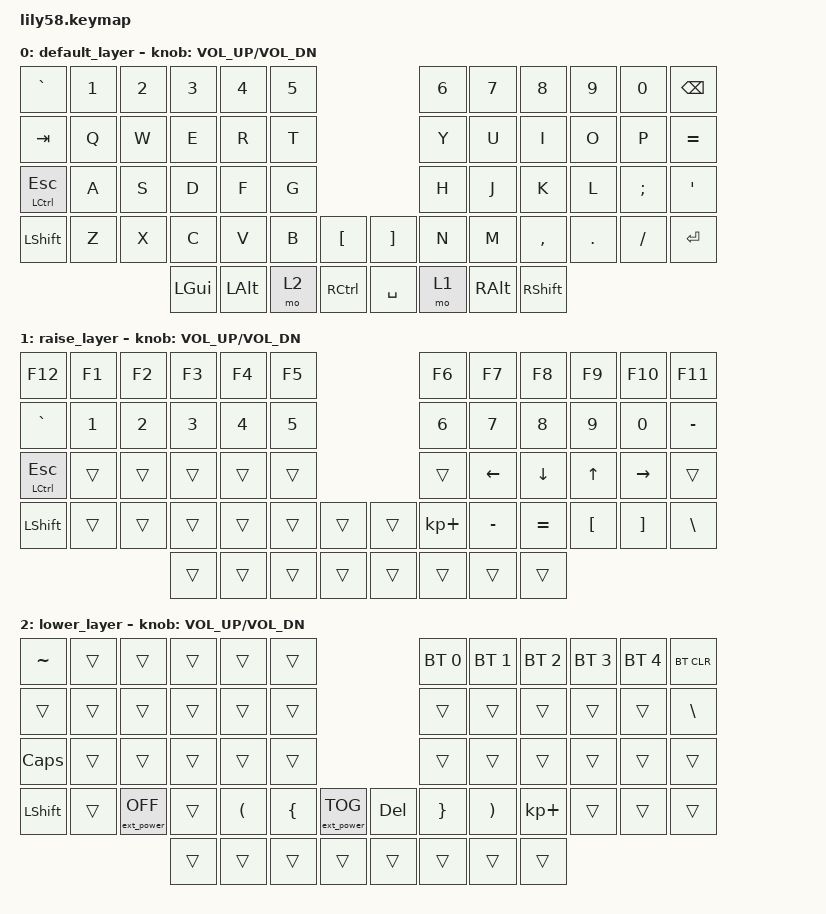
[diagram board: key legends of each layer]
/*
 * Copyright (c) 2020 The ZMK Contributors
 *
 * SPDX-License-Identifier: MIT
 */

#include <behaviors.dtsi>
#include <dt-bindings/zmk/keys.h>
#include <dt-bindings/zmk/bt.h>
#include <dt-bindings/zmk/ext_power.h>

/ {
	keymap {
		compatible = "zmk,keymap";

		default_layer {
// ------------------------------------------------------------------------------------------------------------
// |   `      |  1  |  2  |  3   |  4   |  5   |                   |  6   |  7    |  8    |  9   |   0   |   -   |
// |  TAB     |  Q  |  W  |  E   |  R   |  T   |                   |  Y   |  U    |  I    |  O   |   P   |   =   |
// |hCTRL tESC|  A  |  S  |  D   |  F   |  G   |                   |  H   |  J    |  K    |  L   |   ;   |   '   |
// | SHIFT    |  Z  |  X  |  C   |  V   |  B   |   "["  |  |  "]"  |  N   |  M    |  ,    |  .   |   /   | SHIFT |
//                        | GUI  | ALT  | LOWER|  LCTRL |  | SPACE | RAISE| RALT | RSHIFT |
			bindings = <
&kp GRAVE     &kp N1 &kp N2 &kp N3    &kp N4    &kp N5                      &kp N6  &kp N7   &kp N8    &kp N9  &kp N0   &kp BSPC
&kp TAB       &kp Q  &kp W  &kp E     &kp R     &kp T                       &kp Y   &kp U    &kp I     &kp O   &kp P    &kp EQUAL
&mt LCTRL ESC &kp A  &kp S  &kp D     &kp F     &kp G                       &kp H   &kp J    &kp K     &kp L   &kp SEMI &kp SQT
&kp LSHFT     &kp Z  &kp X  &kp C     &kp V     &kp B  &kp LBKT   &kp RBKT  &kp N   &kp M    &kp COMMA &kp DOT &kp FSLH &kp RET
                            &kp LGUI  &kp LALT  &mo 2  &kp RCTRL  &kp SPACE &mo 1   &kp RALT &kp RSHFT
			>;

			sensor-bindings = <&inc_dec_kp C_VOL_UP C_VOL_DN>;
		};

		raise_layer{
// ------------------------------------------------------------------------------------------------------------
// |    F12  	|  F1 |  F2 |  F3  |  F4  |  F5  |                   |  F6  |   F7  |   F8  |  F9  |  F10  |  F11  |
// |   `   	|  1  |  2  |  3   |  4   |  5   |                   |  6   |   7   |   8   |  9   |   0   |   -   |
// |hCTRL tESC	|     |     |      |      |      |                   |      |  <-   |   ^   |  v   |  ->   |       |   
// | SHIFT    	|     |     |      |      |      |        |  |       |  +   |   -   |   =   |  [   |   ]   |   \   |
//                          |      |      |      |        |  |       |      |       |       |
			bindings = <
&kp F12   	&kp F1 &kp F2 &kp F3  &kp F4  &kp F5                       &kp F6      &kp F7    &kp F8    &kp F9    &kp F10   &kp F11
&kp GRAVE 	&kp N1 &kp N2 &kp N3  &kp N4  &kp N5                       &kp N6      &kp N7    &kp N8    &kp N9    &kp N0    &kp MINUS
&mt LCTRL ESC	&trans &trans &trans  &trans  &trans                       &trans      &kp LEFT  &kp DOWN  &kp UP    &kp RIGHT    &trans
&kp LSHIFT 	&trans &trans &trans  &trans  &trans    &trans   &trans    &kp KP_PLUS &kp MINUS &kp EQUAL &kp LBKT  &kp RBKT  &kp BSLH
                              &trans  &trans  &trans    &trans   &trans    &trans      &trans    &trans
			>;

			sensor-bindings = <&inc_dec_kp C_VOL_UP C_VOL_DN>;
		};

		lower_layer {
// ------------------------------------------------------------------------------------------------------------
// | BTCLR |  	         |  	      |   	   |   	     |      	|                            | BT1  |  BT2  |  BT3  | BT4  |  BT5  | BT CLR  |
// |       |    	 |    	      |     	   |         |          |                            |      |       |       |      |       |    \    |
// |   ~   |  !  	 |  @  	      |  #   	   |  $      |  %       |                            |  ^   |  &    |  *    |  (   |   )   |    _    |
// | SHIFT |  EP_ON	 | EP_OFF     |      	   |  (      |  {       | extpwr TOG    |  |   DEL   |  }   |  )    |  +    |  {   |   }   |         |
//                     	              |      	   |         |          |               |  |         |      |       |       |
			bindings = <
&kp TILDE  &trans     &trans            &trans       &trans       &trans	                   	  &bt BT_SEL 0     &bt BT_SEL 1      &bt BT_SEL 2      &bt BT_SEL 3 &bt BT_SEL 4    &bt BT_CLR 
&trans     &trans     &trans            &trans       &trans       &trans                       		  &trans    &trans    &trans         &trans    &trans    &kp BSLH
&kp CAPS   &trans     &trans            &trans       &trans       &trans                    		  &trans    &trans    &trans         &trans    &trans    &trans
&kp LSHIFT &trans     &ext_power EP_OFF &trans       &kp LPAR     &kp LBRC    &ext_power EP_TOG  &kp DEL  &kp RBRC  &kp RPAR  &kp KP_PLUS    &trans    &trans    &trans
                                        &trans       &trans       &trans      &trans        	 &trans   &trans    &trans    &trans 
			>;

			sensor-bindings = <&inc_dec_kp C_VOL_UP C_VOL_DN>;
		};
	};
};
